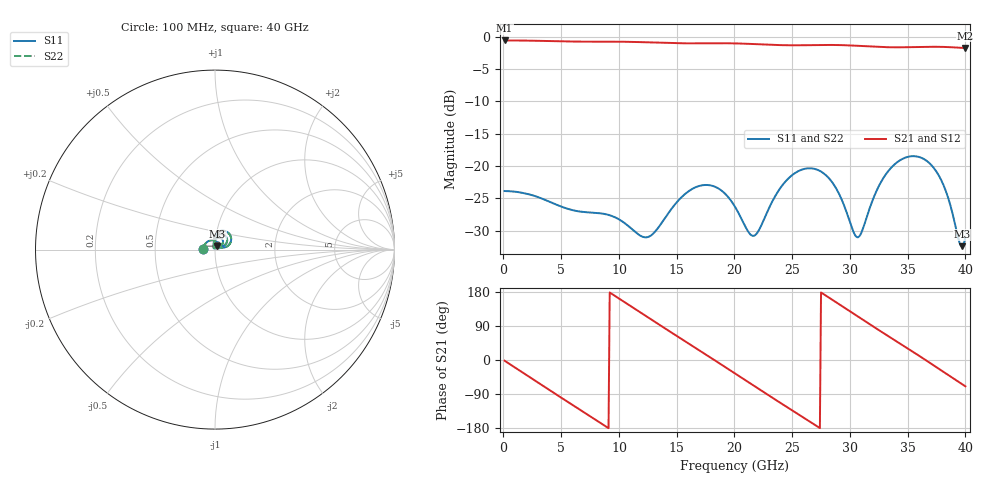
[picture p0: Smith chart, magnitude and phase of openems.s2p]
! thru_s8_L3: 2×thru, L3, 8 mm
! stackup: 8-layer 1.6 mm FR-4 (generic)
! ports: 1, 2
! openEMS 0.37.0, staircase, fine mesh (dfine 0.0175 mm), 667800 cells
# Hz S RI R 50
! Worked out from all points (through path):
!   400 points, 100 MHz to 40 GHz, reference 50 ohm
!   highest |S21| = -0.58 dB at 100 MHz (marker M1); lowest = -1.8 dB at 40 GHz (marker M2)
!   group delay of S21, straight-line fit = 54.7 ps
!   lowest |S11| = -32.4 dB at 39.7 GHz (marker M3), VSWR 1.05, Z = 51.3 + j2.07 ohm
!   |S11| at or under -10 dB: start of sweep to end of sweep
!   |S22| runs from -32.4 to -18.5 dB; largest |S21 - S12| = 0
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1e8  -0.0641 0.00256  0.9351 -0.0326  0.9351 -0.0326  -0.0641 0.00256
1.7e9  -0.0489 0.0381  0.775 -0.5215  0.775 -0.5215  -0.0489 0.0381
3.6e9  -0.0163 0.0524  0.2906 -0.8805  0.2906 -0.8805  -0.0163 0.0524
5.2e9  0.001 0.048  -0.2111 -0.8956  -0.2111 -0.8956  0.001 0.048
6.8e9  0.00887 0.0435  -0.6433 -0.6523  -0.6433 -0.6523  0.00887 0.0435
8.4e9  0.0151 0.0404  -0.8889 -0.2209  -0.8889 -0.2209  0.0151 0.0404
9.9e9  0.0191 0.0343  -0.881 0.2489  -0.881 0.2489  0.0191 0.0343
1.18e10  0.0122 0.0265  -0.5397 0.7311  -0.5397 0.7311  0.0122 0.0265
1.34e10  0.00035 0.0334  -0.0766 0.8955  -0.0766 0.8955  0.00035 0.0334
1.51e10  0.000689 0.0537  0.4214 0.7843  0.4214 0.7843  0.000689 0.0537
1.71e10  0.0262 0.0658  0.8195 0.3444  0.8195 0.3444  0.0262 0.0658
2.01e10  0.0379 0.0289  0.7115 -0.5312  0.7115 -0.5312  0.0379 0.0289
2.17e10  0.0115 0.0266  0.3207 -0.8168  0.3207 -0.8168  0.0115 0.0266
2.32e10  -0.00282 0.0516  -0.1195 -0.8574  -0.1195 -0.8574  -0.00282 0.0516
2.67e10  0.0557 0.0782  -0.8353 -0.2101  -0.8353 -0.2101  0.0557 0.0782
2.86e10  0.0629 0.0352  -0.7904 0.348  -0.7904 0.348  0.0629 0.0352
3.07e10  0.0138 0.0246  -0.348 0.7757  -0.348 0.7757  0.0138 0.0246
3.34e10  0.0101 0.0928  0.3944 0.7294  0.3944 0.7294  0.0101 0.0928
3.66e10  0.0897 0.0647  0.8354 -0.0147  0.8354 -0.0147  0.0897 0.0647
3.81e10  0.0689 0.0188  0.7125 -0.434  0.7125 -0.434  0.0689 0.0188
3.97e10  0.0132 0.0201  0.3651 -0.7346  0.3651 -0.7346  0.0132 0.0201
4e10  0.00471 0.0276  0.2858 -0.7653  0.2858 -0.7653  0.00471 0.0276
